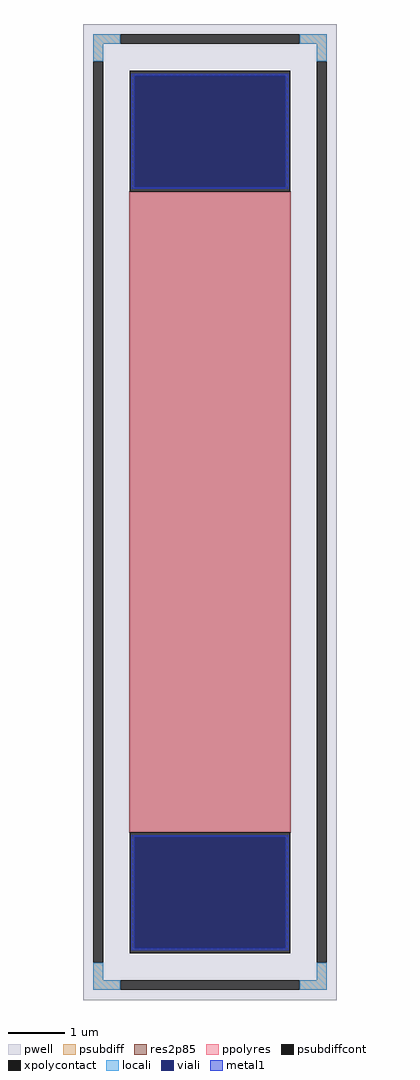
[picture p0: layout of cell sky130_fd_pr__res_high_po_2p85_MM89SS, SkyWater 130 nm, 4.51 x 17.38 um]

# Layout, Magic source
magic
tech sky130A
magscale 1 2
<< pwell >>
rect -451 -1738 451 1738
<< psubdiff >>
rect -415 1668 -319 1702
rect 319 1668 415 1702
rect -415 1606 -381 1668
rect 381 1606 415 1668
rect -415 -1668 -381 -1606
rect 381 -1668 415 -1606
rect -415 -1702 -319 -1668
rect 319 -1702 415 -1668
<< psubdiffcont >>
rect -319 1668 319 1702
rect -415 -1606 -381 1606
rect 381 -1606 415 1606
rect -319 -1702 319 -1668
<< xpolycontact >>
rect -285 1140 285 1572
rect -285 -1572 285 -1140
<< ppolyres >>
rect -285 -1140 285 1140
<< locali >>
rect -415 1668 -319 1702
rect 319 1668 415 1702
rect -415 1606 -381 1668
rect 381 1606 415 1668
rect -415 -1668 -381 -1606
rect 381 -1668 415 -1606
rect -415 -1702 -319 -1668
rect 319 -1702 415 -1668
<< viali >>
rect -269 1157 269 1554
rect -269 -1554 269 -1157
<< metal1 >>
rect -281 1554 281 1560
rect -281 1157 -269 1554
rect 269 1157 281 1554
rect -281 1151 281 1157
rect -281 -1157 281 -1151
rect -281 -1554 -269 -1157
rect 269 -1554 281 -1157
rect -281 -1560 281 -1554
<< res2p85 >>
rect -287 -1142 287 1142
<< properties >>
string FIXED_BBOX -398 -1685 398 1685
string gencell sky130_fd_pr__res_high_po_2p85
string library sky130
string parameters w 2.850 l 11.4 m 1 nx 1 wmin 2.850 lmin 0.50 rho 319.8 val 1.415k dummy 0 dw 0.0 term 194.82 sterm 0.0 caplen 0 guard 1 glc 1 grc 1 gtc 1 gbc 1 compatible {sky130_fd_pr__res_high_po_0p35  sky130_fd_pr__res_high_po_0p69 sky130_fd_pr__res_high_po_1p41  sky130_fd_pr__res_high_po_2p85 sky130_fd_pr__res_high_po_5p73} full_metal 1 wmax 2.850 n_guard 0 hv_guard 0 vias 1 viagb 0 viagt 0 viagl 0 viagr 0
<< end >>
